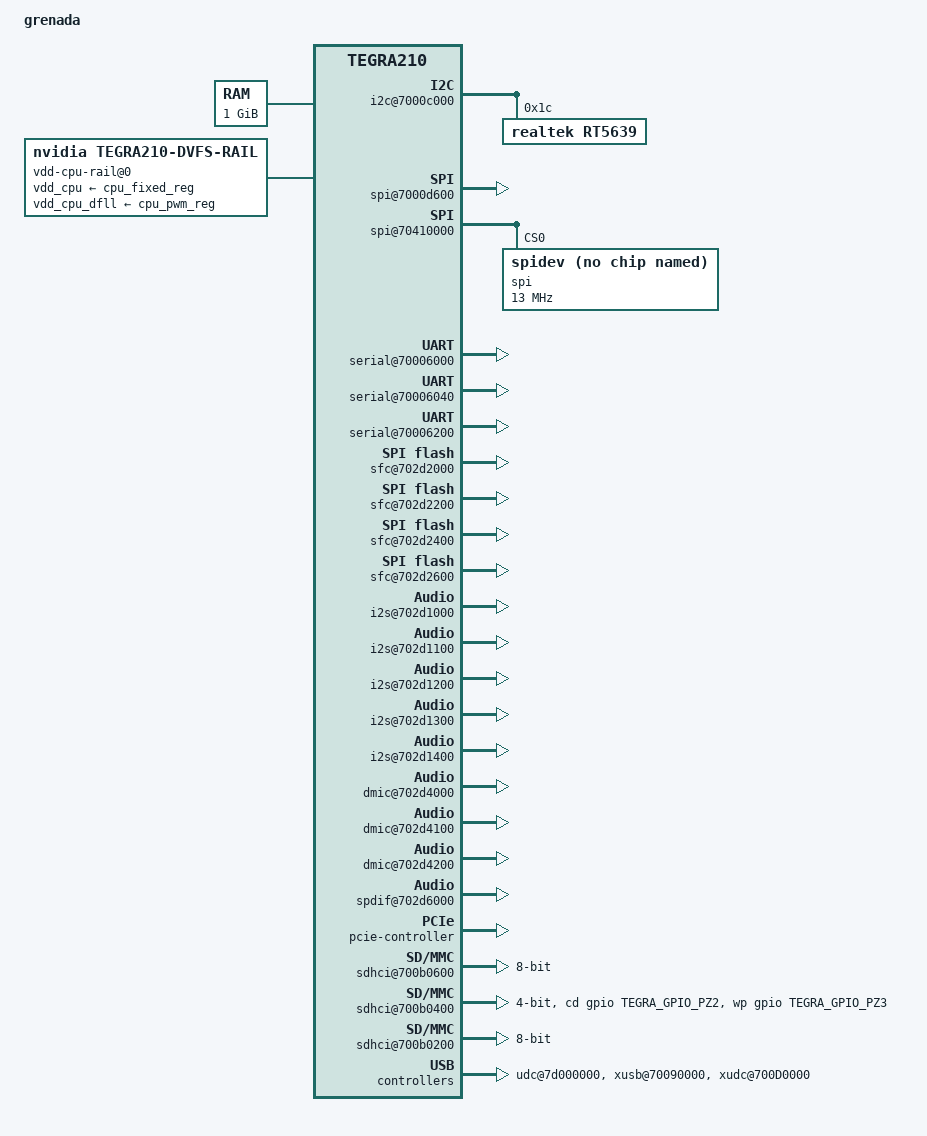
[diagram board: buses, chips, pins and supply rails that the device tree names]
/*
 * arch/arm64/boot/dts/tegra210-grenada.dtsi
 *
 * Copyright (c) 2013-2014, NVIDIA CORPORATION.  All rights reserved.
 *
 * This program is free software; you can redistribute it and/or modify
 * it under the terms of the GNU General Public License as published by
 * the Free Software Foundation; version 2 of the License.
 *
 * This program is distributed in the hope that it will be useful, but WITHOUT
 * ANY WARRANTY; without even the implied warranty of MERCHANTABILITY or
 * FITNESS FOR A PARTICULAR PURPOSE.  See the GNU General Public License for
 * more details.
 *
 * You should have received a copy of the GNU General Public License along
 * with this program; if not, write to the Free Software Foundation, Inc.,
 * 51 Franklin Street, Fifth Floor, Boston, MA  02110-1301, USA.
 *
 */

/dts-v1/;

/memreserve/ 0x80000000 0x00020000;

#include "tegra210.dtsi"
#include "tegra210-platforms/tegra210-ers-dfll-e2174-1101-a00.dtsi"
#include "tegra210-platforms/tegra210-grenada-fixed.dtsi"
#include "tegra210-platforms/tegra210-comms.dtsi"
#include <dt-bindings/pinctrl/pinctrl-tegra.h>
#include <dt-bindings/gpio/gpio.h>

/ {
	model = "grenada";
	compatible = "nvidia,grenada", "nvidia,tegra210";

	chosen {
		bootargs ="mem=1024M@2048M console=ttyS0,115200 earlyprintk=uart8250-32bit,0x70006000";
        };

	/* chosen */

	memory@80000000 {
		device_type = "memory";
		reg = < 0x0 0x80000000 0x0 0x40000000 >;
	};

	timer {
		compatible = "arm,armv8-timer";
		interrupts = <1 13 0xf01
			      1 14 0xf01
			      1 11 0xf01
			      1 10 0xf01>;
		clock-frequency = <38400000>;
	};

	i2c@7000c000 {
		rt5639: audio-codec@1c {
			compatible = "realtek,rt5639";
			reg = <0x1c>;
		};
	};

	adma@702e2000  {
		interrupts = <0 24 0x04
			      0 25 0x04
			      0 26 0x04
			      0 27 0x04
			      0 28 0x04
			      0 29 0x04
			      0 30 0x04
			      0 31 0x04
			      0 32 0x04
			      0 33 0x04>;
		dma-channels = <10>;
		status = "okay";
	};

	spi@7000d600 {
		status = "okay";
		spi-max-frequency = <25000000>;
	};

	spi@70410000 {
		status = "okay";
		spi@0 {
			compatible = "spidev";
			reg = <0>;
			spi-max-frequency = <13000000>;

			controller-data {
				nvidia,x1-len-limit = <16>;
				nvidia,x1-bus-speed = <50>; /* In Mhz */
				nvidia,x1-dymmy-cycle = <0>;
				nvidia,x4-bus-speed = <80>;
				nvidia,x4-dymmy-cycle = <8>;
			};

		};
	};

	serial@70006000 {
		compatible = "nvidia,tegra210-uart";
		console-port;
		status = "okay";
	};

	serial@70006040 {
		compatible = "nvidia,tegra210-uart";
		status = "okay";
	};

	serial@70006200 {
		status = "okay";
	};

	pinmux@700008d4 {
		pinctrl-names = "default";
		pinctrl-0 = <&pinmux_default>;

		pinmux_default: common {
			dvfs_pwm_pbb1 {
				nvidia,pins = "dvfs_pwm_pbb1";
				nvidia,function = "cldvfs";
				nvidia,enable-input = <TEGRA_PIN_DISABLE>;
				nvidia,pull = <TEGRA_PIN_PULL_NONE>;
				nvidia,tristate = <TEGRA_PIN_ENABLE>;
			};

			dvfs_clk_pbb2 {
				nvidia,pins = "dvfs_clk_pbb2";
				nvidia,function = "cldvfs";
				nvidia,enable-input = <TEGRA_PIN_DISABLE>;
				nvidia,pull = <TEGRA_PIN_PULL_NONE>;
				nvidia,tristate = <TEGRA_PIN_DISABLE>;
			};

			gen2_i2c_scl_pj2 {
				nvidia,pins = "gen2_i2c_scl_pj2";
				nvidia,function = "i2c2";
				nvidia,enable-input = <TEGRA_PIN_ENABLE>;
				nvidia,pull = <TEGRA_PIN_PULL_NONE>;
				nvidia,tristate = <TEGRA_PIN_DISABLE>;
				nvidia,lock = <TEGRA_PIN_DISABLE>;
				nvidia,open-drain = <TEGRA_PIN_DISABLE>;
			};

			gen2_i2c_sda_pj3 {
				nvidia,pins = "gen2_i2c_sda_pj3";
				nvidia,function = "i2c2";
				nvidia,enable-input = <TEGRA_PIN_ENABLE>;
				nvidia,pull = <TEGRA_PIN_PULL_NONE>;
				nvidia,tristate = <TEGRA_PIN_DISABLE>;
				nvidia,lock = <TEGRA_PIN_DISABLE>;
				nvidia,open-drain = <TEGRA_PIN_DISABLE>;
			};

			sdmmc1_clk_pm0 {
				nvidia,pins = "sdmmc1_clk_pm0";
				nvidia,function = "sdmmc1";
				nvidia,enable-input = <TEGRA_PIN_ENABLE>;
				nvidia,pull = <TEGRA_PIN_PULL_NONE>;
				nvidia,tristate = <TEGRA_PIN_DISABLE>;
			};

			sdmmc1_cmd_pm1 {
				nvidia,pins = "sdmmc1_cmd_pm1";
				nvidia,function = "sdmmc1";
				nvidia,enable-input = <TEGRA_PIN_ENABLE>;
				nvidia,pull = <TEGRA_PIN_PULL_UP>;
				nvidia,tristate = <TEGRA_PIN_DISABLE>;
			};

			sdmmc1_dat0_pm5 {
				nvidia,pins = "sdmmc1_dat0_pm5";
				nvidia,function = "sdmmc1";
				nvidia,enable-input = <TEGRA_PIN_ENABLE>;
				nvidia,pull = <TEGRA_PIN_PULL_UP>;
				nvidia,tristate = <TEGRA_PIN_DISABLE>;
			};

			sdmmc1_dat1_pm4 {
				nvidia,pins = "sdmmc1_dat1_pm4";
				nvidia,function = "sdmmc1";
				nvidia,enable-input = <TEGRA_PIN_ENABLE>;
				nvidia,pull = <TEGRA_PIN_PULL_UP>;
				nvidia,tristate = <TEGRA_PIN_DISABLE>;
			};

			sdmmc1_dat2_pm3 {
				nvidia,pins = "sdmmc1_dat2_pm3";
				nvidia,function = "sdmmc1";
				nvidia,enable-input = <TEGRA_PIN_ENABLE>;
				nvidia,pull = <TEGRA_PIN_PULL_UP>;
				nvidia,tristate = <TEGRA_PIN_DISABLE>;
			};

			sdmmc1_dat3_pm2 {
				nvidia,pins = "sdmmc1_dat3_pm2";
				nvidia,function = "sdmmc1";
				nvidia,enable-input = <TEGRA_PIN_ENABLE>;
				nvidia,pull = <TEGRA_PIN_PULL_UP>;
				nvidia,tristate = <TEGRA_PIN_DISABLE>;
			};

			sdmmc3_clk_pp0 {
				nvidia,pins = "sdmmc3_clk_pp0";
				nvidia,function = "sdmmc3";
				nvidia,enable-input = <TEGRA_PIN_ENABLE>;
				nvidia,pull = <TEGRA_PIN_PULL_NONE>;
				nvidia,tristate = <TEGRA_PIN_DISABLE>;
			};

			sdmmc3_cmd_pp1 {
				nvidia,pins = "sdmmc3_cmd_pp1";
				nvidia,function = "sdmmc3";
				nvidia,enable-input = <TEGRA_PIN_ENABLE>;
				nvidia,pull = <TEGRA_PIN_PULL_UP>;
				nvidia,tristate = <TEGRA_PIN_DISABLE>;
			};

			sdmmc3_dat0_pp5 {
				nvidia,pins = "sdmmc3_dat0_pp5";
				nvidia,function = "sdmmc3";
				nvidia,enable-input = <TEGRA_PIN_ENABLE>;
				nvidia,pull = <TEGRA_PIN_PULL_UP>;
				nvidia,tristate = <TEGRA_PIN_DISABLE>;
			};

			sdmmc3_dat1_pp4 {
				nvidia,pins = "sdmmc3_dat1_pp4";
				nvidia,function = "sdmmc3";
				nvidia,enable-input = <TEGRA_PIN_ENABLE>;
				nvidia,pull = <TEGRA_PIN_PULL_UP>;
				nvidia,tristate = <TEGRA_PIN_DISABLE>;
			};

			sdmmc3_dat2_pp3 {
				nvidia,pins = "sdmmc3_dat2_pp3";
				nvidia,function = "sdmmc3";
				nvidia,enable-input = <TEGRA_PIN_ENABLE>;
				nvidia,pull = <TEGRA_PIN_PULL_UP>;
				nvidia,tristate = <TEGRA_PIN_DISABLE>;
			};

			sdmmc3_dat3_pp2 {
				nvidia,pins = "sdmmc3_dat3_pp2";
				nvidia,function = "sdmmc3";
				nvidia,enable-input = <TEGRA_PIN_ENABLE>;
				nvidia,pull = <TEGRA_PIN_PULL_UP>;
				nvidia,tristate = <TEGRA_PIN_DISABLE>;
			};

			pwr_i2c_scl_py3 {
				nvidia,pins = "pwr_i2c_scl_py3";
				nvidia,function = "i2cpwr";
				nvidia,enable-input = <TEGRA_PIN_ENABLE>;
				nvidia,pull = <TEGRA_PIN_PULL_NONE>;
				nvidia,tristate = <TEGRA_PIN_DISABLE>;
				nvidia,open-drain = <TEGRA_PIN_DISABLE>;
			};

			pwr_i2c_sda_py4 {
				nvidia,pins = "pwr_i2c_sda_py4";
				nvidia,function = "i2cpwr";
				nvidia,enable-input = <TEGRA_PIN_ENABLE>;
				nvidia,pull = <TEGRA_PIN_PULL_NONE>;
				nvidia,tristate = <TEGRA_PIN_DISABLE>;
				nvidia,open-drain = <TEGRA_PIN_DISABLE>;
			};

			clk_32k_in {
				nvidia,pins = "clk_32k_in";
				nvidia,function = "clk";
				nvidia,enable-input = <TEGRA_PIN_ENABLE>;
				nvidia,pull = <TEGRA_PIN_PULL_NONE>;
				nvidia,tristate = <TEGRA_PIN_DISABLE>;
			};

			gen1_i2c_sda_pj0 {
				nvidia,pins = "gen1_i2c_sda_pj0";
				nvidia,function = "i2c1";
				nvidia,enable-input = <TEGRA_PIN_ENABLE>;
				nvidia,pull = <TEGRA_PIN_PULL_NONE>;
				nvidia,tristate = <TEGRA_PIN_DISABLE>;
				nvidia,lock = <TEGRA_PIN_DISABLE>;
				nvidia,open-drain = <TEGRA_PIN_DISABLE>;
			};

			gen1_i2c_scl_pj1 {
				nvidia,pins = "gen1_i2c_scl_pj1";
				nvidia,function = "i2c1";
				nvidia,enable-input = <TEGRA_PIN_ENABLE>;
				nvidia,pull = <TEGRA_PIN_PULL_NONE>;
				nvidia,tristate = <TEGRA_PIN_DISABLE>;
				nvidia,lock = <TEGRA_PIN_DISABLE>;
				nvidia,open-drain = <TEGRA_PIN_DISABLE>;
			};

			uart2_cts_pg3 {
				nvidia,pins = "uart2_cts_pg3";
				nvidia,function = "ub3";
				nvidia,enable-input = <TEGRA_PIN_ENABLE>;
				nvidia,pull = <TEGRA_PIN_PULL_NONE>;
				nvidia,tristate = <TEGRA_PIN_DISABLE>;
			};

			uart2_rts_pg2 {
				nvidia,pins = "uart2_rts_pg2";
				nvidia,function = "ub3";
				nvidia,enable-input = <TEGRA_PIN_DISABLE>;
				nvidia,pull = <TEGRA_PIN_PULL_NONE>;
				nvidia,tristate = <TEGRA_PIN_DISABLE>;
			};

			uart2_rx_pg1 {
				nvidia,pins = "uart2_rx_pg1";
				nvidia,function = "ub3";
				nvidia,enable-input = <TEGRA_PIN_ENABLE>;
				nvidia,pull = <TEGRA_PIN_PULL_NONE>;
				nvidia,tristate = <TEGRA_PIN_DISABLE>;
			};

			uart2_tx_pg0 {
				nvidia,pins = "uart2_tx_pg0";
				nvidia,function = "ub3";
				nvidia,enable-input = <TEGRA_PIN_DISABLE>;
				nvidia,pull = <TEGRA_PIN_PULL_NONE>;
				nvidia,tristate = <TEGRA_PIN_DISABLE>;
			};

			uart3_cts_pd4 {
				nvidia,pins = "uart3_cts_pd4";
				nvidia,function = "uc3";
				nvidia,enable-input = <TEGRA_PIN_ENABLE>;
				nvidia,pull = <TEGRA_PIN_PULL_NONE>;
				nvidia,tristate = <TEGRA_PIN_DISABLE>;
			};

			uart3_rts_pd3 {
				nvidia,pins = "uart3_rts_pd3";
				nvidia,function = "uc3";
				nvidia,enable-input = <TEGRA_PIN_DISABLE>;
				nvidia,pull = <TEGRA_PIN_PULL_NONE>;
				nvidia,tristate = <TEGRA_PIN_DISABLE>;
			};

			uart3_rx_pd2 {
				nvidia,pins = "uart3_rx_pd2";
				nvidia,function = "uc3";
				nvidia,enable-input = <TEGRA_PIN_ENABLE>;
				nvidia,pull = <TEGRA_PIN_PULL_NONE>;
				nvidia,tristate = <TEGRA_PIN_DISABLE>;
			};

			uart3_tx_pd1 {
				nvidia,pins = "uart3_tx_pd1";
				nvidia,function = "uc3";
				nvidia,enable-input = <TEGRA_PIN_DISABLE>;
				nvidia,pull = <TEGRA_PIN_PULL_NONE>;
				nvidia,tristate = <TEGRA_PIN_DISABLE>;
			};

			uart4_cts_pi7 {
				nvidia,pins = "uart4_cts_pi7";
				nvidia,function = "uart_ape";
				nvidia,enable-input = <TEGRA_PIN_ENABLE>;
				nvidia,pull = <TEGRA_PIN_PULL_NONE>;
				nvidia,tristate = <TEGRA_PIN_DISABLE>;
			};

			uart4_rts_pi6 {
				nvidia,pins = "uart4_rts_pi6";
				nvidia,function = "uart_ape";
				nvidia,enable-input = <TEGRA_PIN_DISABLE>;
				nvidia,pull = <TEGRA_PIN_PULL_NONE>;
				nvidia,tristate = <TEGRA_PIN_DISABLE>;
			};

			uart4_rx_pi5 {
				nvidia,pins = "uart4_rx_pi5";
				nvidia,function = "uart_ape";
				nvidia,enable-input = <TEGRA_PIN_ENABLE>;
				nvidia,pull = <TEGRA_PIN_PULL_NONE>;
				nvidia,tristate = <TEGRA_PIN_DISABLE>;
			};

			uart4_tx_pi4 {
				nvidia,pins = "uart4_tx_pi4";
				nvidia,function = "uart_ape";
				nvidia,enable-input = <TEGRA_PIN_DISABLE>;
				nvidia,pull = <TEGRA_PIN_PULL_NONE>;
				nvidia,tristate = <TEGRA_PIN_DISABLE>;
			};

			gpio_x1_aud_pbb3 {
				nvidia,pins = "gpio_x1_aud_pbb3";
				nvidia,function = "rsvd1";
				nvidia,enable-input = <TEGRA_PIN_DISABLE>;
				nvidia,pull = <TEGRA_PIN_PULL_NONE>;
				nvidia,tristate = <TEGRA_PIN_DISABLE>;
			};

			gpio_x3_aud_pbb4 {
				nvidia,pins = "gpio_x3_aud_pbb4";
				nvidia,function = "rsvd1";
				nvidia,enable-input = <TEGRA_PIN_ENABLE>;
				nvidia,pull = <TEGRA_PIN_PULL_UP>;
				nvidia,tristate = <TEGRA_PIN_DISABLE>;
			};

			qspi_sck_pee0 {
				nvidia,pins = "qspi_sck_pee0";
				nvidia,function = "qspi";
				nvidia,enable-input = <TEGRA_PIN_ENABLE>;
				nvidia,pull = <TEGRA_PIN_PULL_UP>;
				nvidia,tristate = <TEGRA_PIN_DISABLE>;
			};

			pz4 {
				nvidia,pins = "pz4";
				nvidia,function = "rsvd2";
				nvidia,enable-input = <TEGRA_PIN_DISABLE>;
				nvidia,pull = <TEGRA_PIN_PULL_UP>;
				nvidia,tristate = <TEGRA_PIN_DISABLE>;
			};

			qspi_cs_n_pee1 {
				nvidia,pins = "qspi_cs_n_pee1";
				nvidia,function = "qspi";
				nvidia,enable-input = <TEGRA_PIN_ENABLE>;
				nvidia,pull = <TEGRA_PIN_PULL_UP>;
				nvidia,tristate = <TEGRA_PIN_DISABLE>;
			};

			qspi_io0_pee2 {
				nvidia,pins = "qspi_io0_pee2";
				nvidia,function = "qspi";
				nvidia,enable-input = <TEGRA_PIN_ENABLE>;
				nvidia,pull = <TEGRA_PIN_PULL_UP>;
				nvidia,tristate = <TEGRA_PIN_DISABLE>;
			};

			qspi_io1_pee3 {
				nvidia,pins = "qspi_io1_pee3";
				nvidia,function = "qspi";
				nvidia,enable-input = <TEGRA_PIN_ENABLE>;
				nvidia,pull = <TEGRA_PIN_PULL_UP>;
				nvidia,tristate = <TEGRA_PIN_DISABLE>;
			};

			qspi_io2_pee4 {
				nvidia,pins = "qspi_io2_pee4";
				nvidia,function = "qspi";
				nvidia,enable-input = <TEGRA_PIN_ENABLE>;
				nvidia,pull = <TEGRA_PIN_PULL_UP>;
				nvidia,tristate = <TEGRA_PIN_DISABLE>;
			};

			qspi_io3_pee5 {
				nvidia,pins = "qspi_io3_pee5";
				nvidia,function = "qspi";
				nvidia,enable-input = <TEGRA_PIN_ENABLE>;
				nvidia,pull = <TEGRA_PIN_PULL_UP>;
				nvidia,tristate = <TEGRA_PIN_DISABLE>;
			};

			spi1_mosi_pc0 {
				nvidia,pins = "spi1_mosi_pc0";
				nvidia,function = "spi1";
				nvidia,enable-input = <TEGRA_PIN_ENABLE>;
				nvidia,pull = <TEGRA_PIN_PULL_DOWN>;
				nvidia,tristate = <TEGRA_PIN_ENABLE>;
			};

			spi1_miso_pc1 {
				nvidia,pins = "spi1_miso_pc1";
				nvidia,function = "spi1";
				nvidia,enable-input = <TEGRA_PIN_ENABLE>;
				nvidia,pull = <TEGRA_PIN_PULL_DOWN>;
				nvidia,tristate = <TEGRA_PIN_ENABLE>;
			};

			spi1_sck_pc2 {
				nvidia,pins = "spi1_sck_pc2";
				nvidia,function = "spi1";
				nvidia,enable-input = <TEGRA_PIN_ENABLE>;
				nvidia,pull = <TEGRA_PIN_PULL_DOWN>;
				nvidia,tristate = <TEGRA_PIN_ENABLE>;
			};

			spi1_cs0_pc3 {
				nvidia,pins = "spi1_cs0_pc3";
				nvidia,function = "spi1";
				nvidia,enable-input = <TEGRA_PIN_ENABLE>;
				nvidia,pull = <TEGRA_PIN_PULL_UP>;
				nvidia,tristate = <TEGRA_PIN_ENABLE>;
			};

			spi4_sck_pc5 {
				nvidia,pins = "spi4_sck_pc5";
				nvidia,function = "spi4";
				nvidia,enable-input = <TEGRA_PIN_ENABLE>;
				nvidia,pull = <TEGRA_PIN_PULL_DOWN>;
				nvidia,tristate = <TEGRA_PIN_ENABLE>;
			};

			spi4_cs0_pc6 {
				nvidia,pins = "spi4_cs0_pc6";
				nvidia,function = "spi4";
				nvidia,enable-input = <TEGRA_PIN_ENABLE>;
				nvidia,pull = <TEGRA_PIN_PULL_UP>;
				nvidia,tristate = <TEGRA_PIN_ENABLE>;
			};

			spi4_mosi_pc7 {
				nvidia,pins = "spi4_mosi_pc7";
				nvidia,function = "spi4";
				nvidia,enable-input = <TEGRA_PIN_ENABLE>;
				nvidia,pull = <TEGRA_PIN_PULL_DOWN>;
				nvidia,tristate = <TEGRA_PIN_ENABLE>;
			};

			spi4_miso_pd0 {
				nvidia,pins = "spi4_miso_pd0";
				nvidia,function = "spi4";
				nvidia,enable-input = <TEGRA_PIN_ENABLE>;
				nvidia,pull = <TEGRA_PIN_PULL_DOWN>;
				nvidia,tristate = <TEGRA_PIN_ENABLE>;
			};

			gen3_i2c_scl_pf0 {
				nvidia,pins = "gen3_i2c_scl_pf0";
				nvidia,function = "i2c3";
				nvidia,enable-input = <TEGRA_PIN_ENABLE>;
				nvidia,pull = <TEGRA_PIN_PULL_NONE>;
				nvidia,tristate = <TEGRA_PIN_DISABLE>;
				nvidia,lock = <TEGRA_PIN_DISABLE>;
				nvidia,open-drain = <TEGRA_PIN_DISABLE>;
			};

			gen3_i2c_sda_pf1 {
				nvidia,pins = "gen3_i2c_sda_pf1";
				nvidia,function = "i2c3";
				nvidia,enable-input = <TEGRA_PIN_ENABLE>;
				nvidia,pull = <TEGRA_PIN_PULL_NONE>;
				nvidia,tristate = <TEGRA_PIN_DISABLE>;
				nvidia,lock = <TEGRA_PIN_DISABLE>;
				nvidia,open-drain = <TEGRA_PIN_DISABLE>;
			};

			uart1_tx_pu0 {
				nvidia,pins = "uart1_tx_pu0";
				nvidia,function = "ua3";
				nvidia,enable-input = <TEGRA_PIN_DISABLE>;
				nvidia,pull = <TEGRA_PIN_PULL_DOWN>;
				nvidia,tristate = <TEGRA_PIN_DISABLE>;
			};

			uart1_rx_pu1 {
				nvidia,pins = "uart1_rx_pu1";
				nvidia,function = "ua3";
				nvidia,enable-input = <TEGRA_PIN_ENABLE>;
				nvidia,pull = <TEGRA_PIN_PULL_DOWN>;
				nvidia,tristate = <TEGRA_PIN_DISABLE>;
			};

			uart1_rts_pu2 {
				nvidia,pins = "uart1_rts_pu2";
				nvidia,function = "ua3";
				nvidia,enable-input = <TEGRA_PIN_DISABLE>;
				nvidia,pull = <TEGRA_PIN_PULL_DOWN>;
				nvidia,tristate = <TEGRA_PIN_DISABLE>;
			};

			uart1_cts_pu3 {
				nvidia,pins = "uart1_cts_pu3";
				nvidia,function = "ua3";
				nvidia,enable-input = <TEGRA_PIN_ENABLE>;
				nvidia,pull = <TEGRA_PIN_PULL_DOWN>;
				nvidia,tristate = <TEGRA_PIN_DISABLE>;
			};

			spi2_mosi_pb4 {
				nvidia,pins = "spi2_mosi_pb4";
				nvidia,function = "spi2";
				nvidia,enable-input = <TEGRA_PIN_ENABLE>;
				nvidia,pull = <TEGRA_PIN_PULL_UP>;
				nvidia,tristate = <TEGRA_PIN_DISABLE>;
			};

			spi2_miso_pb5 {
				nvidia,pins = "spi2_miso_pb5";
				nvidia,function = "spi2";
				nvidia,enable-input = <TEGRA_PIN_ENABLE>;
				nvidia,pull = <TEGRA_PIN_PULL_UP>;
				nvidia,tristate = <TEGRA_PIN_DISABLE>;
			};

			spi2_sck_pb6 {
				nvidia,pins = "spi2_sck_pb6";
				nvidia,function = "spi2";
				nvidia,enable-input = <TEGRA_PIN_ENABLE>;
				nvidia,pull = <TEGRA_PIN_PULL_UP>;
				nvidia,tristate = <TEGRA_PIN_DISABLE>;
			};

			spi2_cs0_pb7 {
				nvidia,pins = "spi2_cs0_pb7";
				nvidia,function = "spi2";
				nvidia,enable-input = <TEGRA_PIN_ENABLE>;
				nvidia,pull = <TEGRA_PIN_PULL_UP>;
				nvidia,tristate = <TEGRA_PIN_DISABLE>;
			};

			spi2_cs1_pdd0 {
				nvidia,pins = "spi2_cs1_pdd0";
				nvidia,function = "spi2";
				nvidia,enable-input = <TEGRA_PIN_ENABLE>;
				nvidia,pull = <TEGRA_PIN_PULL_UP>;
				nvidia,tristate = <TEGRA_PIN_ENABLE>;
			};
		};

		dap1_active_state: dap1_active {
			i2s1 {
				nvidia,pins = "dap1_fs_pb0", "dap1_din_pb1",
								"dap1_dout_pb2","dap1_sclk_pb3";
				nvidia,function = "i2s1";
				nvidia,enable-input = <TEGRA_PIN_ENABLE>;
				nvidia,pull = <TEGRA_PIN_PULL_NONE>;
				nvidia,tristate = <TEGRA_PIN_DISABLE>;
			};
		};

		dap1_inactive_state: dap1_inactive {
			i2s1 {
				nvidia,pins = "dap1_fs_pb0", "dap1_din_pb1",
								"dap1_dout_pb2", "dap1_sclk_pb3";
				nvidia,function = "i2s1";
				nvidia,enable-input = <TEGRA_PIN_DISABLE>;
				nvidia,pull = <TEGRA_PIN_PULL_NONE>;
				nvidia,tristate = <TEGRA_PIN_ENABLE>;
			};
		};

		dap2_active_state: dap2_active {
			i2s2 {
				nvidia,pins = "dap2_fs_paa0","dap2_din_paa2",
								"dap2_dout_paa3","dap2_sclk_paa1";
				nvidia,function = "i2s2";
				nvidia,enable-input = <TEGRA_PIN_ENABLE>;
				nvidia,pull = <TEGRA_PIN_PULL_NONE>;
				nvidia,tristate = <TEGRA_PIN_DISABLE>;
			};
		};


		dap2_inactive_state: dap2_inactive {
			i2s2 {
				nvidia,pins = "dap2_fs_paa0","dap2_din_paa2",
								"dap2_dout_paa3","dap2_sclk_paa1";
				nvidia,function = "i2s2";
				nvidia,enable-input = <TEGRA_PIN_DISABLE>;
				nvidia,pull = <TEGRA_PIN_PULL_NONE>;
				nvidia,tristate = <TEGRA_PIN_ENABLE>;
			};
		};

		dap4_active_state: dap4_active {
			i2s4 {
				nvidia,pins = "dap4_fs_pj4", "dap4_din_pj5",
								"dap4_dout_pj6", "dap4_sclk_pj7";
				nvidia,function = "i2s4";
				nvidia,enable-input = <TEGRA_PIN_ENABLE>;
				nvidia,pull = <TEGRA_PIN_PULL_NONE>;
				nvidia,tristate = <TEGRA_PIN_DISABLE>;
			};
		};

		dap4_inactive_state: dap4_inactive {
			i2s4 {
				nvidia,pins = "dap4_fs_pj4", "dap4_din_pj5",
								"dap4_dout_pj6", "dap4_sclk_pj7";
				nvidia,function = "i2s4";
				nvidia,enable-input = <TEGRA_PIN_DISABLE>;
				nvidia,pull = <TEGRA_PIN_PULL_NONE>;
				nvidia,tristate = <TEGRA_PIN_ENABLE>;
			};
		};

		dap5_active_state: dap5_active {
			i2s5 {
				nvidia,pins = "pk0","pk1","pk2","pk3";
				nvidia,function = "i2s5";
				nvidia,enable-input = <TEGRA_PIN_ENABLE>;
				nvidia,pull = <TEGRA_PIN_PULL_NONE>;
				nvidia,tristate = <TEGRA_PIN_DISABLE>;
			};
		};

		dap5_inactive_state: dap5_inactive {
			i2s5 {
				nvidia,pins = "pk0","pk1","pk2","pk3";
				nvidia,function = "i2s5";
				nvidia,enable-input = <TEGRA_PIN_DISABLE>;
				nvidia,pull = <TEGRA_PIN_PULL_NONE>;
				nvidia,tristate = <TEGRA_PIN_ENABLE>;
			};
		};
	};

	ahub {
		status = "okay";

		admaif@0x702d0000 {
			status = "okay";
		};

		ope@702d8000 {
			status = "okay";

			peq@702d8100 {
				status = "okay";
			};

			mbdrc@702d8200 {
				status = "okay";
			};
		};

		ope@702d8400 {
			status = "okay";

			peq@702d8500 {
				status = "okay";
			};

			mbdrc@702d8600 {
				status = "okay";
			};
		};

		sfc@702d2000 {
			status = "okay";
		};

		sfc@702d2200 {
			status = "okay";
		};

		sfc@702d2400 {
			status = "okay";
		};

		sfc@702d2600 {
			status = "okay";
		};

		spkprot@702d8c00 {
			status = "okay";
		};

		mvc@702da000 {
			status = "okay";
		};

		mvc@0x702da200 {
			status = "okay";
		};

		amixer@702dbb00 {
			status = "okay";
		};

		i2s@702d1000 {
			pinctrl-names = "dap_active", "dap_inactive";
			pinctrl-0 = <&dap1_active_state>;
			pinctrl-1 = <&dap1_inactive_state>;
			status = "okay";
		};

		i2s@702d1100 {
			pinctrl-names = "dap_active", "dap_inactive";
			pinctrl-0 = <&dap2_active_state>;
			pinctrl-1 = <&dap2_inactive_state>;
			status = "okay";
		};

		i2s@702d1200 {
			pinctrl-names = "dap_active", "dap_inactive";
			pinctrl-0 = <>;
			pinctrl-1 = <>;
			status = "okay";
		};

		i2s@702d1300 {
			pinctrl-names = "dap_active", "dap_inactive";
			pinctrl-0 = <&dap4_active_state>;
			pinctrl-1 = <&dap4_inactive_state>;
			status = "okay";
		};

		i2s@702d1400 {
			pinctrl-names = "dap_active", "dap_inactive";
			pinctrl-0 = <&dap5_active_state>;
			pinctrl-1 = <&dap5_inactive_state>;
			status = "okay";
		};

		dmic@702d4000 {
			status = "okay";
		};

		dmic@702d4100 {
			status = "okay";
		};

		dmic@702d4200 {
			status = "okay";
		};

		amx@702d3000 {
			status = "okay";
		};

		adx@702d3800 {
			status = "okay";
		};

		afc@702d7000 {
			status = "okay";
		};

		afc@702d7100 {
			status = "okay";
		};

		afc@702d7200 {
			status = "okay";
		};

		afc@702d7300 {
			status = "okay";
		};

		afc@702d7400 {
			status = "okay";
		};

		afc@702d7500 {
			status = "okay";
		};

		mvc@702da000 {
			status = "okay";
		};

		mvc@702da200 {
			status = "okay";
		};

		spdif@702d6000 {
			status = "okay";
		};
	};

	adsp_audio {
		status = "okay";
	};

	spdif_dit0: spdif-dit@0 {
		compatible = "linux,spdif-dit";
		reg = <0x0 0x0 0x0 0x0>;
	};

	spdif_dit1: spdif-dit@1 {
		compatible = "linux,spdif-dit";
		reg = <0x0 0x1 0x0 0x0>;
	};

	spdif_dit2: spdif-dit@2 {
		compatible = "linux,spdif-dit";
		reg = <0x0 0x2 0x0 0x0>;
	};

	spdif_dit3: spdif-dit@3 {
		compatible = "linux,spdif-dit";
		reg = <0x0 0x03 0x0 0x0>;
	};

	sound {
		compatible = "nvidia,tegra-audio-grenada";
		nvidia,model = "tegra-snd-grenada";
		nvidia,memory-clients = <34>;
		iommus = <&smmu TEGRA_SWGROUP_CELLS(APE) &ape_as>;
		nvidia,audio-routing =
			"x Headphone", 	"x OUT",
			"y Headphone", 	"y OUT",
			"z Headphone", 	"z OUT",
			"s Headphone", 	"s OUT",
			"x IN",		"x Mic",
			"y IN",		"y Mic",
			"z IN",		"z Mic",
			"s IN",		"s Mic";
			nvidia,admaif = <&tegra_admaif>;
			nvidia,xbar = <&tegra_axbar>;
			nvidia,i2s-controller-1 = <&tegra_i2s1>;
			nvidia,i2s-controller-2 = <&tegra_i2s2>;
			nvidia,i2s-controller-3 = <&tegra_i2s5>;
			nvidia,amx-1 = <&tegra_amx1>;
			nvidia,adx-1 = <&tegra_adx1>;
			nvidia,sfc-1 = <&tegra_sfc1>;
			nvidia,sfc-2 = <&tegra_sfc2>;
			nvidia,sfc-3 = <&tegra_sfc3>;
			nvidia,sfc-4 = <&tegra_sfc4>;
			nvidia,dmic-1 = <&tegra_dmic1>;
			nvidia,dmic-2 = <&tegra_dmic2>;
			nvidia,dmic-3 = <&tegra_dmic3>;
			nvidia,afc-1 = <&tegra_afc1>;
			nvidia,afc-2 = <&tegra_afc2>;
			nvidia,afc-3 = <&tegra_afc3>;
			nvidia,afc-4 = <&tegra_afc4>;
			nvidia,afc-5 = <&tegra_afc5>;
			nvidia,afc-6 = <&tegra_afc6>;
			nvidia,mvc-1 = <&tegra_mvc1>;
			nvidia,mvc-2 = <&tegra_mvc2>;
			nvidia,spdif = <&tegra_spdif>;
			nvidia,mixer-1 = <&tegra_amixer>;
			nvidia,audio-codec-x = <&spdif_dit0>;
			nvidia,audio-codec-y = <&spdif_dit1>;
			nvidia,audio-codec-z = <&spdif_dit2>;
			nvidia,audio-codec-s = <&spdif_dit3>;
			nvidia,adsp = <&tegra_adsp_audio>;
	};

	pcie-controller {
		status = "okay";

		pci@1,0 {
			status = "okay";
		};

		pci@2,0 {
			status = "okay";
		};
	};

	sdhci@700b0600 {
		tap-delay = <4>;
		trim-delay = <8>;
		dqs-trim-delay = <17>;
		mmc-ocr-mask = <0>;
		max-clk-limit = <200000000>;
		uhs_mask = <0x0>;
		bus-width = <8>;
		id = <3>;
		built-in;
		calib_1v8_offsets = <0x0707>;
		status = "okay";
	};
	sdhci@700b0400 {
		tap-delay = <1>;
		trim-delay = <3>;
		max-clk-limit = <204000000>;
		ddr-clk-limit = <48000000>;
		bus-width = <4>;
		id = <2>;
		calib_3v3_offsets = <0x0101>;
		calib_1v8_offsets = <0x0202>;
		cd-gpios = <&gpio TEGRA_GPIO_PZ2 0>;
		wp-gpios = <&gpio TEGRA_GPIO_PZ3 0>;
		mmc-ocr-mask = <3>;
		status = "okay";
	};
	sdhci@700b0200 {
		tap-delay = <4>;
		trim-delay = <8>;
		dqs-trim-delay = <17>;
		mmc-ocr-mask = <0>;
		max-clk-limit = <200000000>;
		uhs_mask = <0x0>;
		bus-width = <8>;
		id = <1>;
		built-in;
		calib_1v8_offsets = <0x0707>;
		status = "okay";
	};

	udc@7d000000 {
		status = "okay";
	};

	/* Put common control config here */
	xusb_pad_ctl: padctl@0 {
		nvidia,ss_portmap = <0x3210>;
		nvidia,lane_owner = <0x8456>; /* Use 0xF to disable lane assign */
		statuc = "okay";
	};

	xusb@70090000 {
		/* nvidia,uses_external_pmic;
		nvidia,gpio_controls_muxed_ss_lanes; */
		nvidia,gpio_ss1_sata = <0>;
		nvidia,ulpicap = <0>; /* No ulpi support. can we remove */
		nvidia,portmap = <0xe0e>;
		nvidia,supply_utmi_vbuses = "usb_vbus0", "usb_vbus1", "usb_vbus2";
		nvidia,supply_s3p3v = "hvdd_usb";
		nvidia,supply_s1p8v = "avdd_pll_utmip";
		nvidia,supply_vddio_hsic = "vddio_hsic";
		nvidia,supply_s1p05v = "avddio_usb";
		/* hsic config values in order defined in structure */
		nvidia,hsic0 = /bits/8 <0x1 0x1 0x8 0xa 0 0 1 0x22 0>;
		nvidia,common_padctl = <&xusb_pad_ctl>;
		status = "okay";
	};

	xudc@700D0000 {
		nvidia,common_padctl = <&xusb_pad_ctl>;
		status = "okay";
	};

	dvfs_rails {
		compatible = "simple-bus";
		#address-cells = <1>;
		#size-cells = <0>;

		vdd-cpu-rail@0 {
			reg = <0>;
			compatible = "nvidia,tegra210-dvfs-rail";
			vdd_cpu-supply = <&cpu_fixed_reg>;
			vdd_cpu_dfll-supply = <&cpu_pwm_reg>;
		};
	};
};
